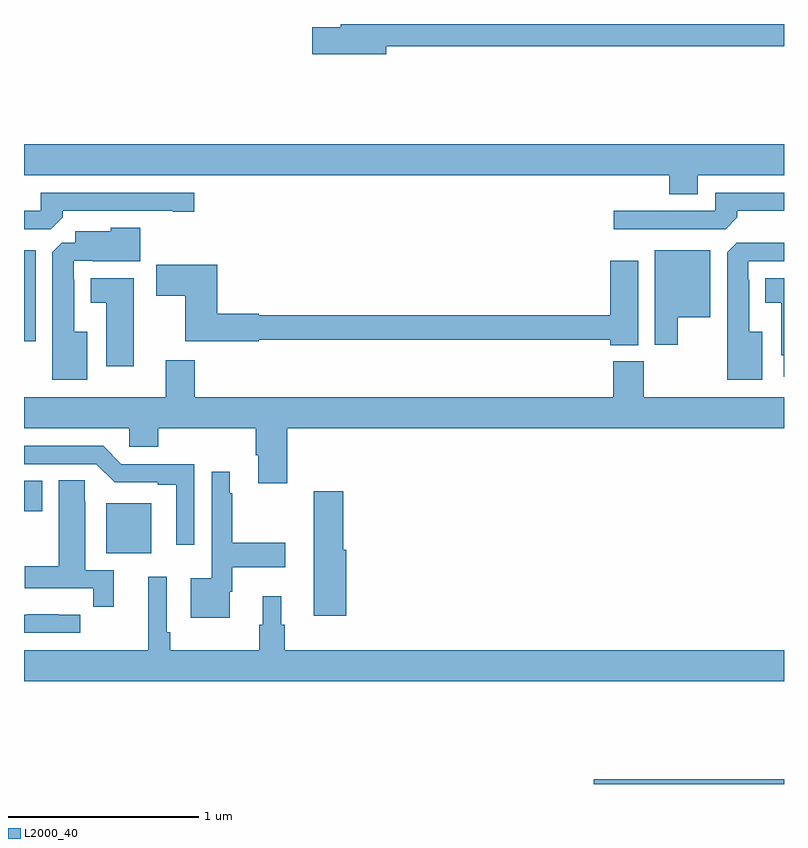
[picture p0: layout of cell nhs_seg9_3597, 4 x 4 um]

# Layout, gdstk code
import gdstk
lib = gdstk.Library(unit=1e-6, precision=1e-09)
def R(c, l, rs):  # rectangles x0, y0, x1, y1
    for r in rs: c.add(gdstk.rectangle(r[:2], r[2:], *l))
def P(c, l, *ps):  # polygons
    for p in ps: c.add(gdstk.Polygon(p, *l))
L2000_40 = (2000, 40)

nhs_seg9_3597 = lib.new_cell('nhs_seg9_3597')
R(nhs_seg9_3597, L2000_40, [(317.999,1242.5,319,1242.524), (315.434,1243.715,315.67,1243.978), (315,1243.936,315.097,1244.095), (315,1244.829,315.061,1245.31)])
P(nhs_seg9_3597, L2000_40, [(316.906,1246.384),(319,1246.384),(319,1246.5),(316.667,1246.5),(316.667,1246.484),(316.518,1246.484),(316.518,1246.342),(316.906,1246.342)],
  [(318.547,1245.704),(319,1245.704),(319,1245.868),(315,1245.868),(315,1245.704),(318.395,1245.704),(318.395,1245.605),(318.547,1245.605)],
  [(318.755,1245.482),(318.755,1245.516),(319,1245.516),(319,1245.612),(318.639,1245.612),(318.639,1245.516),(318.105,1245.516),(318.105,1245.42),(318.693,1245.42)],
  [(315.203,1245.482),(315.203,1245.516),(315.782,1245.516),(315.782,1245.511),(315.895,1245.511),(315.895,1245.612),(315.087,1245.612),(315.087,1245.516),(315,1245.516),(315,1245.42),(315.141,1245.42)],
  [(315.334,1244.881),(315.265,1244.881),(315.265,1245.155),(315.261,1245.155),(315.261,1245.255),(315.361,1245.255),(315.361,1245.251),(315.613,1245.251),(315.613,1245.427),(315.456,1245.427),(315.456,1245.409),(315.269,1245.409),(315.269,1245.348),(315.198,1245.348),(315.149,1245.299),(315.149,1244.627),(315.334,1244.627)],
  [(318.886,1244.881),(318.817,1244.881),(318.817,1245.155),(318.813,1245.155),(318.813,1245.252),(319,1245.252),(319,1245.348),(318.75,1245.348),(318.701,1245.299),(318.701,1244.627),(318.886,1244.627)],
  [(318.442,1244.957),(318.613,1244.957),(318.613,1245.31),(318.32,1245.31),(318.32,1244.811),(318.442,1244.811)],
  [(318.232,1245.253),(318.086,1245.253),(318.086,1244.966),(316.236,1244.966),(316.236,1244.974),(316.016,1244.974),(316.016,1245.232),(315.696,1245.232),(315.696,1245.07),(315.848,1245.07),(315.848,1244.83),(316.236,1244.83),(316.236,1244.838),(318.086,1244.838),(318.086,1244.81),(318.232,1244.81)],
  [(315.577,1245.163),(315.35,1245.163),(315.35,1245.032),(315.434,1245.032),(315.434,1244.7),(315.577,1244.7)],
  [(319,1245.163),(318.902,1245.163),(318.902,1245.032),(318.986,1245.032),(318.986,1244.757),(318.998,1244.757),(318.998,1244.643),(319,1244.643)],
  [(316.385,1244.372),(319,1244.372),(319,1244.536),(318.261,1244.536),(318.261,1244.725),(318.101,1244.725),(318.101,1244.536),(315.899,1244.536),(315.899,1244.731),(315.746,1244.731),(315.746,1244.536),(315,1244.536),(315,1244.372),(315.555,1244.372),(315.555,1244.274),(315.707,1244.274),(315.707,1244.372),(316.22,1244.372),(316.22,1244.23),(316.232,1244.23),(316.232,1244.082),(316.385,1244.082)],
  [(315.897,1244.184),(315.513,1244.184),(315.417,1244.28),(315,1244.28),(315,1244.184),(315.381,1244.184),(315.477,1244.088),(315.704,1244.088),(315.704,1244.076),(315.8,1244.076),(315.8,1243.758),(315.897,1243.758)],
  [(316.084,1243.512),(316.096,1243.512),(316.096,1243.64),(316.375,1243.64),(316.375,1243.77),(316.096,1243.77),(316.096,1244.03),(316.084,1244.03),(316.084,1244.143),(315.987,1244.143),(315.987,1243.582),(315.878,1243.582),(315.878,1243.376),(316.084,1243.376)],
  [(315.473,1243.626),(315.322,1243.626),(315.322,1243.988),(315.321,1243.988),(315.321,1244.099),(315.182,1244.099),(315.182,1243.647),(315.005,1243.647),(315.005,1243.53),(315.364,1243.53),(315.364,1243.434),(315.473,1243.434)],
  [(316.697,1243.734),(316.679,1243.734),(316.679,1244.041),(316.525,1244.041),(316.525,1243.858),(316.526,1243.858),(316.526,1243.386),(316.697,1243.386)],
  [(319,1243.204),(316.373,1243.204),(316.373,1243.338),(316.354,1243.338),(316.354,1243.489),(316.256,1243.489),(316.256,1243.338),(316.237,1243.338),(316.237,1243.204),(315.77,1243.204),(315.77,1243.3),(315.75,1243.3),(315.75,1243.591),(315.653,1243.591),(315.653,1243.204),(315,1243.204),(315,1243.04),(319,1243.04)],
  [(315.295,1243.392),(315.182,1243.392),(315.182,1243.393),(315.016,1243.393),(315.016,1243.392),(315,1243.392),(315,1243.296),(315.295,1243.296)])

lib.write_gds('nhs_seg9_3597.gds')
